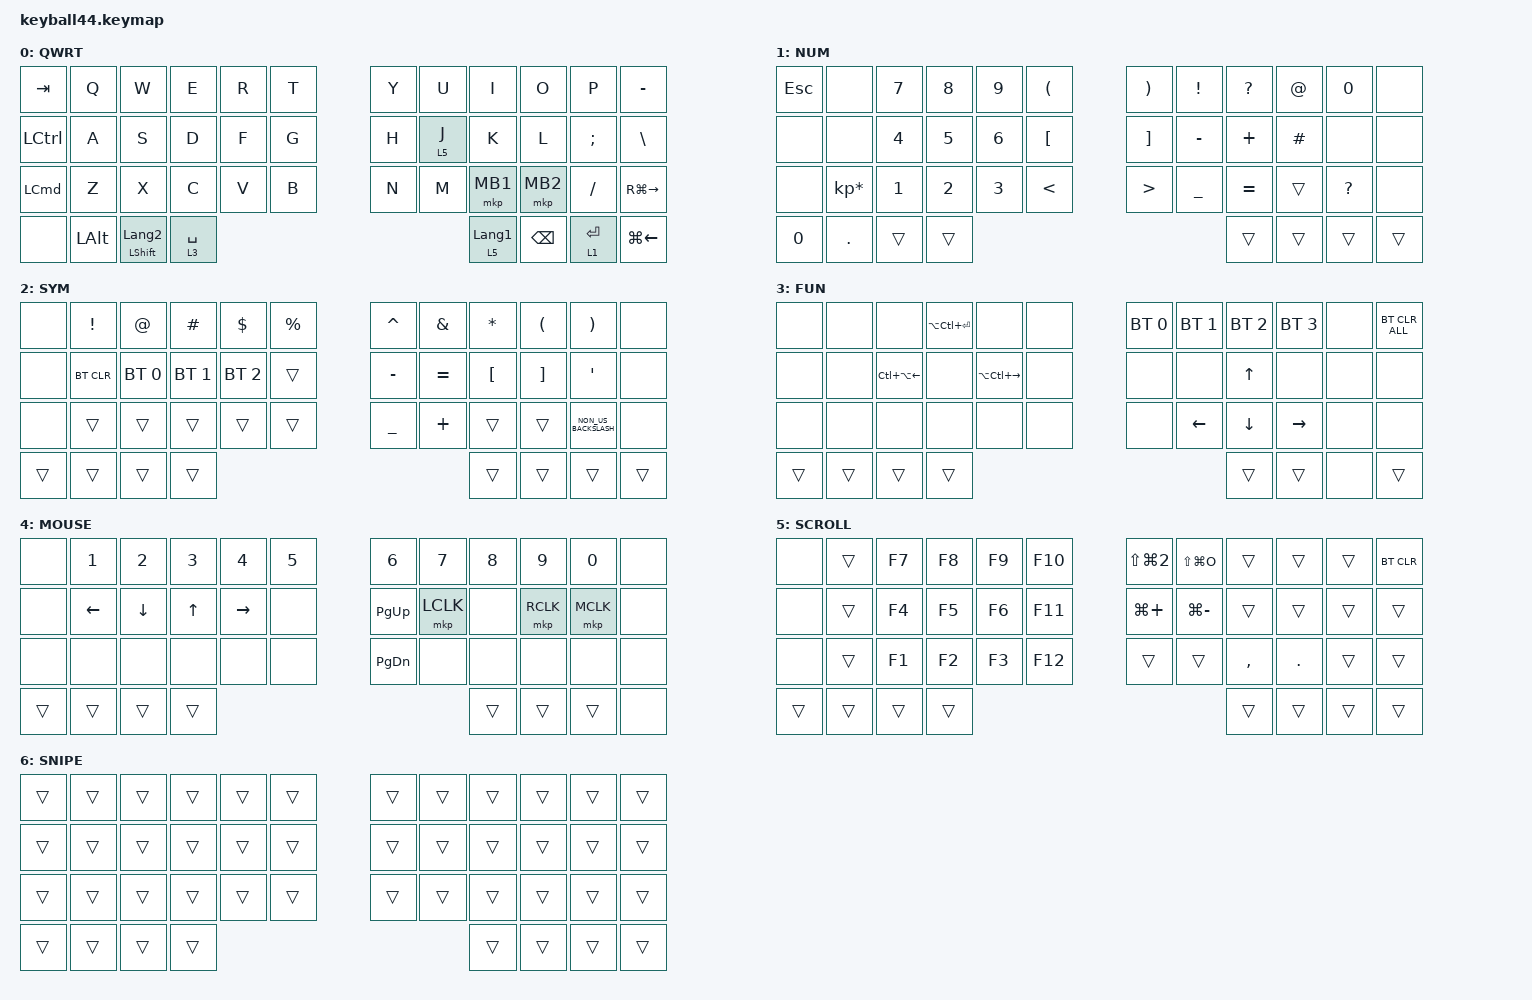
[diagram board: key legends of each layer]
#define DEFAULT 0
#define NUM     1
#define SYM     2
#define FUN     3
#define MOUSE   4
#define SCROLL  5
#define SNIPE   6

#include <behaviors/mouse_keys.dtsi>
#include <dt-bindings/zmk/mouse.h>
#include <dt-bindings/zmk/mouse.h>
#include <dt-bindings/zmk/mouse.h>
#include <dt-bindings/zmk/mouse.h>
#include <dt-bindings/zmk/mouse.h>
#include <dt-bindings/zmk/mouse.h>
#include <dt-bindings/zmk/mouse.h>
#include <dt-bindings/zmk//mouse.h>
#include <dt-bindings/zmk/mouse.h>
#include <dt-bindings/zmk/mouse.h>
#include <dt-bindings/zmk/mouse.h>
#include <dt-bindings/zmk/mouse.h>
#include <behaviors.dtsi>
#include <dt-bindings/zmk/bt.h>
#include <dt-bindings/zmk/keys.h>
#include <dt-bindings/zmk/pointing.h>

&lt {
    tapping-term-ms = <240>;
    flavor = "balanced";
    quick-tap-ms = <150>;
};

&mt {
    tapping-term-ms = <200>;
    flavor = "tap-preferred";
    quick-tap-ms = <150>;
};

&caps_word { continue-list = <UNDERSCORE MINUS>; };

/ {
    // custom shift using mod-morph 

    behaviors {
        cmqus: comma_question {
            compatible = "zmk,behavior-mod-morph";
            label = "COMMA_QUESTION";
            #binding-cells = <0>;
            bindings = <&kp COMMA>, <&kp QUESTION>;

            mods = <(MOD_LSFT|MOD_RSFT)>;
        };

        dtsmi: dot_semi {
            compatible = "zmk,behavior-mod-morph";
            label = "DOT_SEMI";
            #binding-cells = <0>;
            bindings = <&kp DOT>, <&kp SEMI>;

            mods = <(MOD_LSFT|MOD_RSFT)>;
        };
    };

    keymap {
        compatible = "zmk,keymap";

        default_layer {
            label = "QWRT";
            bindings = <
&kp TAB           &kp Q     &kp W                      &kp E        &kp R             &kp T                     &kp Y      &kp U    &kp I     &kp O     &kp P      &kp MINUS
&kp LCTRL         &kp A     &kp S                      &kp D        &kp F             &kp G                     &kp H      &lt 5 J  &kp K     &kp L     &kp SEMI   &kp BACKSLASH
&kp LEFT_COMMAND  &kp Z     &kp X                      &kp C        &kp V             &kp B                     &kp N      &kp M    &mkp MB1  &mkp MB2  &kp SLASH  &kp RG(RIGHT_ARROW)
&none             &kp LALT  &mt LEFT_SHIFT LANGUAGE_2  &lt 3 SPACE  &lt 5 LANGUAGE_1             &kp BACKSPACE  &lt 1 RET                                          &kp LG(LEFT_ARROW)
            >;
        };

        number_layer {
            label = "NUM";
            bindings = <
&kp ESCAPE  &none            &kp N7        &kp N8        &kp N9        &kp LEFT_PARENTHESIS              &kp RIGHT_PARENTHESIS  &kp EXCLAMATION  &kp QUESTION  &kp AT_SIGN  &kp NUMBER_0  &none
&none       &none            &kp NUMBER_4  &kp N5        &kp NUMBER_6  &kp LEFT_BRACKET                  &kp RIGHT_BRACKET      &kp MINUS        &kp PLUS      &kp HASH     &none         &none
&none       &kp KP_ASTERISK  &kp NUMBER_1  &kp NUMBER_2  &kp NUMBER_3  &kp LESS_THAN                     &kp GREATER_THAN       &kp UNDERSCORE   &kp EQUAL     &trans       &kp QUESTION  &none
&kp N0      &kp PERIOD       &trans        &trans        &trans                                  &trans  &trans                                                                           &trans
            >;
        };

        symbol_layer {
            label = "SYM";
            bindings = <
&none   &kp EXCLAMATION  &kp AT_SIGN   &kp HASH      &kp DOLLAR    &kp PERCENT              &kp CARET       &kp AMPERSAND  &kp ASTERISK      &kp LEFT_PARENTHESIS  &kp RIGHT_PARENTHESIS  &none
&none   &bt BT_CLR       &bt BT_SEL 0  &bt BT_SEL 1  &bt BT_SEL 2  &trans                   &kp MINUS       &kp EQUAL      &kp LEFT_BRACKET  &kp RIGHT_BRACKET     &kp SQT                &none
&none   &trans           &trans        &trans        &trans        &trans                   &kp UNDERSCORE  &kp PLUS       &trans            &trans                &kp NON_US_BACKSLASH   &none
&trans  &trans           &trans        &trans        &trans                         &trans  &trans                                                                                        &trans
            >;
        };

        function_layer {
            label = "FUN";
            bindings = <
&none   &none   &none                   &kp LA(LC(RET))  &none                    &none              &bt BT_SEL 0  &bt BT_SEL 1    &bt BT_SEL 2    &bt BT_SEL 3     &none  &bt BT_CLR_ALL
&none   &none   &kp LC(LA(LEFT_ARROW))  &none            &kp LA(LC(RIGHT_ARROW))  &none              &none         &none           &kp UP_ARROW    &none            &none  &none
&none   &none   &none                   &none            &none                    &none              &none         &kp LEFT_ARROW  &kp DOWN_ARROW  &kp RIGHT_ARROW  &none  &none
&trans  &trans  &trans                  &trans           &trans                              &trans  &none                                                                 &trans
            >;
        };

        mouse_layer {
            label = "MOUSE";
            bindings = <
&none   &kp N1          &kp N2          &kp N3        &kp N4     &kp N5              &kp N6         &kp N7     &kp N8  &kp N9     &kp N0     &none
&none   &kp LEFT_ARROW  &kp DOWN_ARROW  &kp UP_ARROW  &kp RIGHT  &none               &kp PAGE_UP    &mkp LCLK  &none   &mkp RCLK  &mkp MCLK  &none
&none   &none           &none           &none         &none      &none               &kp PAGE_DOWN  &none      &none   &none      &none      &none
&trans  &trans          &trans          &trans        &trans                 &trans  &trans                                                  &none
            >;
        };

        scroll_layer {
            label = "SCROLL";
            bindings = <
&none   &trans  &kp F7  &kp F8  &kp F9  &kp F10              &kp LS(LG(NUMBER_2))  &kp LS(LG(O))  &trans     &trans      &trans  &bt BT_CLR
&none   &trans  &kp F4  &kp F5  &kp F6  &kp F11              &kp LG(PLUS)          &kp LG(MINUS)  &trans     &trans      &trans  &trans
&none   &trans  &kp F1  &kp F2  &kp F3  &kp F12              &trans                &trans         &kp COMMA  &kp PERIOD  &trans  &trans
&trans  &trans  &trans  &trans  &trans               &trans  &trans                                                              &trans
            >;
        };

        snipe_layer {
            label = "SNIPE";
            bindings = <
&trans  &trans  &trans  &trans  &trans  &trans              &trans  &trans  &trans  &trans  &trans  &trans
&trans  &trans  &trans  &trans  &trans  &trans              &trans  &trans  &trans  &trans  &trans  &trans
&trans  &trans  &trans  &trans  &trans  &trans              &trans  &trans  &trans  &trans  &trans  &trans
&trans  &trans  &trans  &trans  &trans              &trans  &trans                                  &trans
            >;
        };
    };
};
